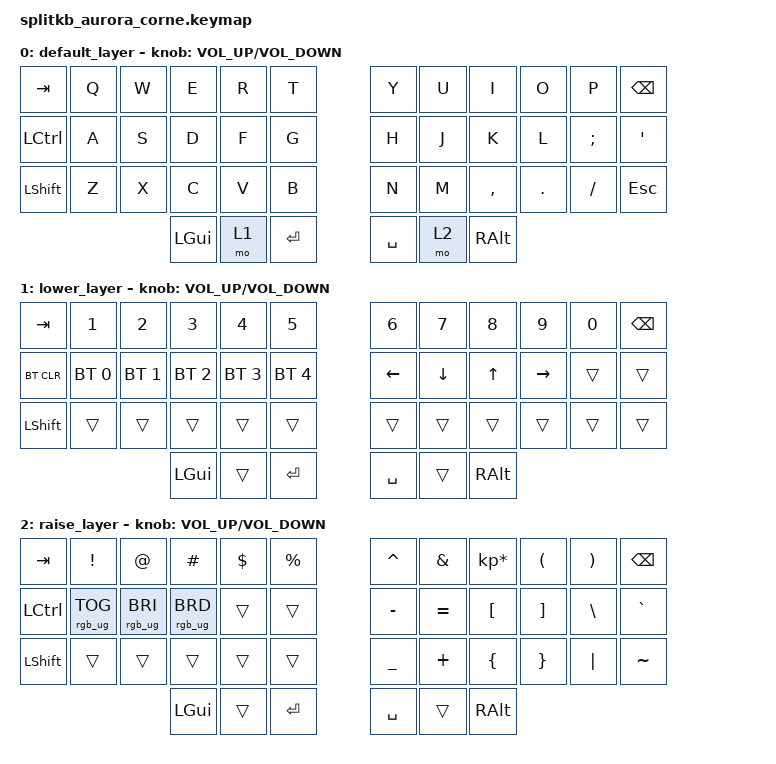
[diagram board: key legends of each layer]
#include <behaviors.dtsi>
#include <dt-bindings/zmk/bt.h>
#include <dt-bindings/zmk/keys.h>
#include <dt-bindings/zmk/rgb.h>

/ {
    keymap {
        compatible = "zmk,keymap";

        default_layer {
            // -----------------------------------------------------------------------------------------
            // |  TAB |  Q  |  W  |  E  |  R  |  T  |   |  Y  |  U   |  I  |  O  |  P  | BKSP |
            // | CTRL |  A  |  S  |  D  |  F  |  G  |   |  H  |  J   |  K  |  L  |  ;  |  '   |
            // | SHFT |  Z  |  X  |  C  |  V  |  B  |   |  N  |  M   |  ,  |  .  |  /  | ESC  |
            //                    | GUI | LWR | SPC |   | ENT | RSE  | ALT |

            bindings = <
&kp TAB    &kp Q  &kp W  &kp E     &kp R  &kp T      &kp Y      &kp U  &kp I      &kp O    &kp P     &kp BSPC
&kp LCTRL  &kp A  &kp S  &kp D     &kp F  &kp G      &kp H      &kp J  &kp K      &kp L    &kp SEMI  &kp SQT
&kp LSHFT  &kp Z  &kp X  &kp C     &kp V  &kp B      &kp N      &kp M  &kp COMMA  &kp DOT  &kp FSLH  &kp ESC
                         &kp LGUI  &mo 1  &kp RET    &kp SPACE  &mo 2  &kp RALT
            >;

            sensor-bindings = <&inc_dec_kp C_VOLUME_UP C_VOLUME_DOWN>;
        };

        lower_layer {
            // -----------------------------------------------------------------------------------------
            // |  TAB |  1  |  2  |  3  |  4  |  5  |   |  6  |  7  |  8  |  9  |  0  | BKSP |
            // | BTCLR| BT1 | BT2 | BT3 | BT4 | BT5 |   | LFT | DWN |  UP | RGT |     |      |
            // | SHFT |     |     |     |     |     |   |     |     |     |     |     |      |
            //                    | GUI |     | SPC |   | ENT |     | ALT |

            bindings = <
&kp TAB     &kp N1        &kp N2        &kp N3        &kp N4        &kp N5          &kp N6     &kp N7    &kp N8    &kp N9     &kp N0  &kp BSPC
&bt BT_CLR  &bt BT_SEL 0  &bt BT_SEL 1  &bt BT_SEL 2  &bt BT_SEL 3  &bt BT_SEL 4    &kp LEFT   &kp DOWN  &kp UP    &kp RIGHT  &trans  &trans
&kp LSHFT   &trans        &trans        &trans        &trans        &trans          &trans     &trans    &trans    &trans     &trans  &trans
                                        &kp LGUI      &trans        &kp RET         &kp SPACE  &trans    &kp RALT
            >;

            sensor-bindings = <&inc_dec_kp C_VOLUME_UP C_VOLUME_DOWN>;
        };

        raise_layer {
            // -----------------------------------------------------------------------------------------
            // |  TAB |  !  |  @  |  #  |  $  |  %  |   |  ^  |  &  |  *  |  (  |  )  | BKSP |
            // | CTRL |     |     |     |     |     |   |  -  |  =  |  [  |  ]  |  \  |  `   |
            // | SHFT |     |     |     |     |     |   |  _  |  +  |  {  |  }  | "|" |  ~   |
            //                    | GUI |     | SPC |   | ENT |     | ALT |

            bindings = <
&kp TAB    &kp EXCL         &kp AT           &kp HASH         &kp DLLR  &kp PRCNT    &kp CARET  &kp AMPS   &kp KP_MULTIPLY  &kp LPAR  &kp RPAR  &kp BSPC
&kp LCTRL  &rgb_ug RGB_TOG  &rgb_ug RGB_BRI  &rgb_ug RGB_BRD  &trans    &trans       &kp MINUS  &kp EQUAL  &kp LBKT         &kp RBKT  &kp BSLH  &kp GRAVE
&kp LSHFT  &trans           &trans           &trans           &trans    &trans       &kp UNDER  &kp PLUS   &kp LBRC         &kp RBRC  &kp PIPE  &kp TILDE
                                             &kp LEFT_GUI     &trans    &kp RET      &kp SPACE  &trans     &kp RALT
            >;

            sensor-bindings = <&inc_dec_kp C_VOLUME_UP C_VOLUME_DOWN>;
        };
    };
};
